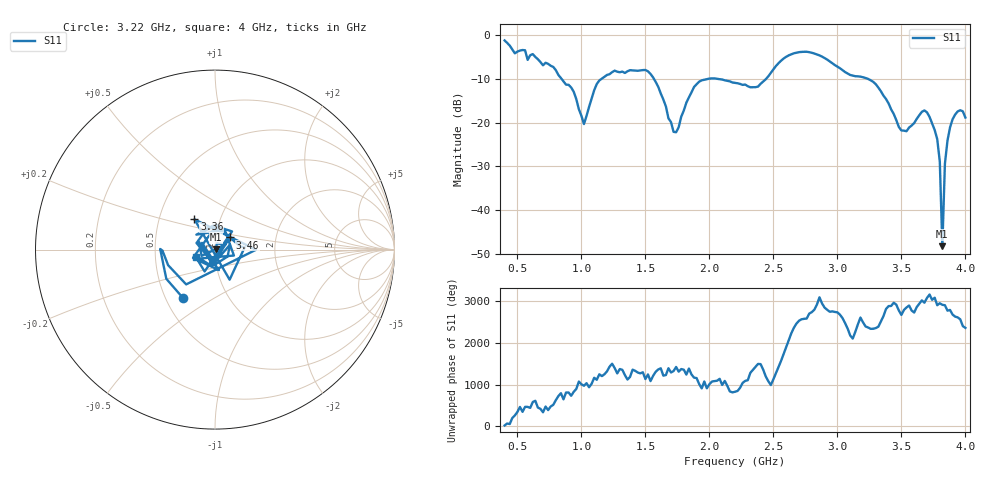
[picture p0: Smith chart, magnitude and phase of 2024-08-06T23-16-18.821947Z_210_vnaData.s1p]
!Created with skrf (http://scikit-rf.org).
# Hz S RI R 50.0
!freq ReS11 ImS11
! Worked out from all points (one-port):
!   181 points, 400 MHz to 4 GHz, reference 50 ohm
!   lowest |S11| = -48.2 dB at 3.82 GHz (marker M1), VSWR 1.01, Z = 50.3 + j0.221 ohm
!   |S11| at or under -10 dB: 1.567 GHz to 1.987 GHz (420.4 MHz wide, 23.7 % of centre); 2.067 GHz to 2.442 GHz (375.1 MHz wide, 16.6 % of centre); 3.24 GHz to end of sweep (the widest 3 of 4)
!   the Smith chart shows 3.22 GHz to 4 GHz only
!   S11 on the Smith chart (normalised r, x): 3.22 GHz: 0.61, -0.37; 3.36 GHz: 0.75, +0.27; 3.46 GHz: 1.17, +0.16; 4 GHz: 0.81, -0.07
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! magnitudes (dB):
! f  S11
! 400 MHz  -1.2
! 860 MHz  -10.6
! 940 MHz  -12.9
! 1.02 GHz  -20.3
! 1.12 GHz  -11.2
! 1.3 GHz  -8.5
! 1.52 GHz  -8.3
! 1.6 GHz  -11.8
! 1.72 GHz  -22.1
! 1.76 GHz  -21.0
! 1.92 GHz  -10.6
! 2.2 GHz  -10.9
! 2.38 GHz  -11.8
! 2.66 GHz  -4.1
! 2.86 GHz  -4.6
! 3.1 GHz  -9.1
! 3.22 GHz  -9.8
! 3.36 GHz  -13.8
! 3.46 GHz  -19.4
! 3.56 GHz  -21.1
! 3.68 GHz  -17.2
! 3.76 GHz  -21.7
! 3.8 GHz  -28.9
! 3.82 GHz  -48.2
! 3.84 GHz  -29.4
! 3.86 GHz  -24.1
! 3.92 GHz  -18.1
! 4 GHz  -18.8
